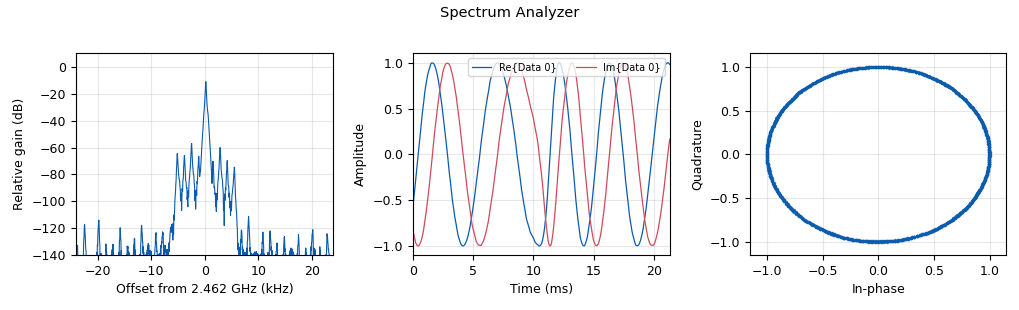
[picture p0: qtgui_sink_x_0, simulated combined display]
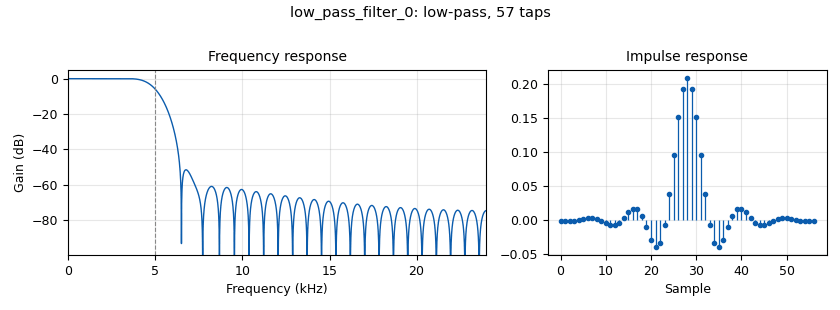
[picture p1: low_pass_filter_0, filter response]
options:
  parameters:
    author: Simon & Andreas
    generate_options: qt_gui
    id: Interference_transmitter
    output_language: python
    title: Interference Transmitter
  states: {}

blocks:
- name: rf_gain
  id: variable_qtgui_range
  parameters:
    label: RF Gain
    outputmsgname: value
    showports: 'False'
    start: '0'
    step: '1'
    stop: '76'
    value: '50'
  states: {}
- name: samp_rate
  id: variable
  parameters:
    value: '48000'
  states: {}
- name: tuning
  id: variable_qtgui_range
  parameters:
    label: Frequency
    outputmsgname: value
    showports: 'False'
    start: '2400000000'
    step: '200000'
    stop: '2500000000'
    value: '2462000000'
  states: {}
- name: analog_nbfm_tx_0
  id: analog_nbfm_tx
  parameters:
    audio_rate: samp_rate
    fh: '-1.0'
    max_dev: '5000'
    quad_rate: '576000'
    tau: '75e-6'
  states: {}
- name: analog_sig_source_x_0
  id: analog_sig_source_x
  parameters:
    amp: '1'
    freq: tuning
    offset: '0'
    phase: '0'
    samp_rate: samp_rate
    type: float
    waveform: analog.GR_SAW_WAVE
  states: {}
- name: low_pass_filter_0
  id: low_pass_filter
  parameters:
    cutoff_freq: '5000'
    decim: '1'
    gain: '1'
    samp_rate: samp_rate
    type: fir_filter_ccf
    width: '2000'
    win: window.WIN_HAMMING
  states: {}
- name: qtgui_sink_x_0
  id: qtgui_sink_x
  parameters:
    bw: samp_rate
    fc: tuning
    fftsize: '1024'
    name: Spectrum Analyzer
    showports: 'True'
    showrf: 'True'
    type: complex
  states: {}
- name: uhd_usrp_sink_0
  id: uhd_usrp_sink
  parameters:
    ant0: '"TX/RX"'
    center_freq0: '0'
    gain0: '0'
    samp_rate: samp_rate
    sync: sync
    type: fc32
  states: {state: disabled}

connections:
- [analog_nbfm_tx_0, '0', low_pass_filter_0, '0']
- [analog_sig_source_x_0, '0', analog_nbfm_tx_0, '0']
- [low_pass_filter_0, '0', qtgui_sink_x_0, '0']
- [low_pass_filter_0, '0', uhd_usrp_sink_0, '0']

metadata:
  file_format: 1
  grc_version: 3.10.4.0
